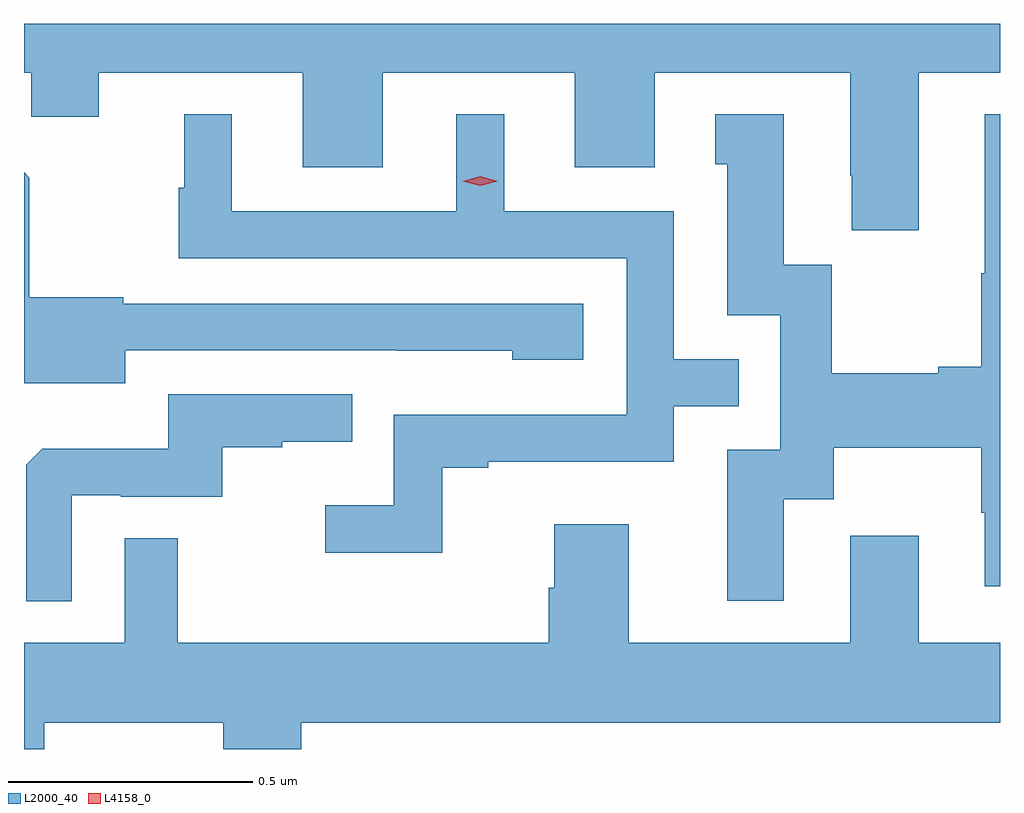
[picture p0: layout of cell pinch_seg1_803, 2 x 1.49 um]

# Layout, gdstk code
import gdstk
lib = gdstk.Library(unit=1e-6, precision=1e-09)
def P(c, l, *ps):  # polygons
    for p in ps: c.add(gdstk.Polygon(p, *l))
L2000_40 = (2000, 40)
L4158_0 = (4158, 0)

pinch_seg1_803 = lib.new_cell('pinch_seg1_803')
P(pinch_seg1_803, L2000_40, [(605.752,583.7),(605.767,583.7),(605.767,583.61),(605.905,583.61),(605.905,583.7),(606.323,583.7),(606.323,583.506),(606.487,583.506),(606.487,583.7),(606.881,583.7),(606.881,583.506),(607.045,583.506),(607.045,583.7),(607.445,583.7),(607.445,583.489),(607.448,583.489),(607.448,583.377),(607.585,583.377),(607.585,583.7),(607.752,583.7),(607.752,583.8),(605.752,583.8)],
  [(606.609,582.891),(606.703,582.891),(606.703,582.903),(607.083,582.903),(607.083,583.017),(607.217,583.017),(607.217,583.113),(607.083,583.113),(607.083,583.416),(606.736,583.416),(606.736,583.615),(606.638,583.615),(606.638,583.416),(606.178,583.416),(606.178,583.615),(606.08,583.615),(606.08,583.464),(606.069,583.464),(606.069,583.32),(606.987,583.32),(606.987,582.999),(606.51,582.999),(606.51,582.814),(606.369,582.814),(606.369,582.716),(606.609,582.716)],
  [(607.309,582.826),(607.411,582.826),(607.411,582.932),(607.714,582.932),(607.714,582.798),(607.721,582.798),(607.721,582.648),(607.752,582.648),(607.752,583.615),(607.721,583.615),(607.721,583.289),(607.714,583.289),(607.714,583.097),(607.625,583.097),(607.625,583.084),(607.407,583.084),(607.407,583.307),(607.309,583.307),(607.309,583.615),(607.169,583.615),(607.169,583.512),(607.193,583.512),(607.193,583.203),(607.302,583.203),(607.302,582.927),(607.193,582.927),(607.193,582.618),(607.309,582.618)],
  [(605.959,583.131),(606.517,583.131),(606.517,583.13),(606.753,583.13),(606.753,583.112),(606.898,583.112),(606.898,583.227),(605.955,583.227),(605.955,583.24),(605.763,583.24),(605.763,583.485),(605.752,583.496),(605.752,583.064),(605.959,583.064)],
  [(605.85,582.834),(605.95,582.834),(605.95,582.831),(606.158,582.831),(606.158,582.933),(606.281,582.933),(606.281,582.944),(606.425,582.944),(606.425,583.041),(606.048,583.041),(606.048,582.929),(605.789,582.929),(605.757,582.897),(605.757,582.617),(605.85,582.617)],
  [(605.793,582.368),(606.16,582.368),(606.16,582.314),(606.32,582.314),(606.32,582.368),(607.752,582.368),(607.752,582.532),(607.585,582.532),(607.585,582.751),(607.445,582.751),(607.445,582.532),(606.991,582.532),(606.991,582.775),(606.839,582.775),(606.839,582.645),(606.827,582.645),(606.827,582.532),(606.067,582.532),(606.067,582.746),(605.958,582.746),(605.958,582.532),(605.752,582.532),(605.752,582.314),(605.793,582.314)])
P(pinch_seg1_803, L4158_0, [(606.687,583.468),(606.651,583.478),(606.651,583.478),(606.651,583.478),(606.687,583.488),(606.723,583.478),(606.723,583.478),(606.723,583.478)])

lib.write_gds('pinch_seg1_803.gds')
